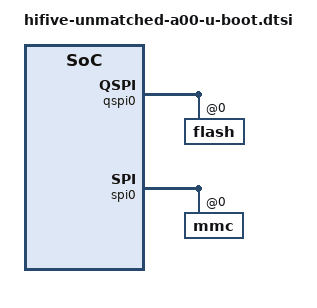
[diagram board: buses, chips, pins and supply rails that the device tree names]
// SPDX-License-Identifier: (GPL-2.0 OR MIT)
/*
 * Copyright (C) 2020-2021 SiFive, Inc
 */

#include "binman.dtsi"
#include "fu740-c000-u-boot.dtsi"
#include "fu740-hifive-unmatched-a00-ddr.dtsi"

/ {
	aliases {
		spi0 = &spi0;
	};

	memory@80000000 {
		bootph-pre-ram;
	};

	config {
		u-boot,spl-payload-offset = <0x105000>; /* loader2 @1044KB */
	};

	hfclk {
		bootph-pre-ram;
	};

	rtcclk {
		bootph-pre-ram;
	};

};

&clint {
	clocks = <&rtcclk>;
};

&qspi0 {
	bootph-pre-ram;
	flash@0 {
		bootph-pre-ram;
	};
};

&spi0 {
	mmc@0 {
		bootph-pre-ram;
	};
};

&gpio {
	bootph-pre-ram;
};
